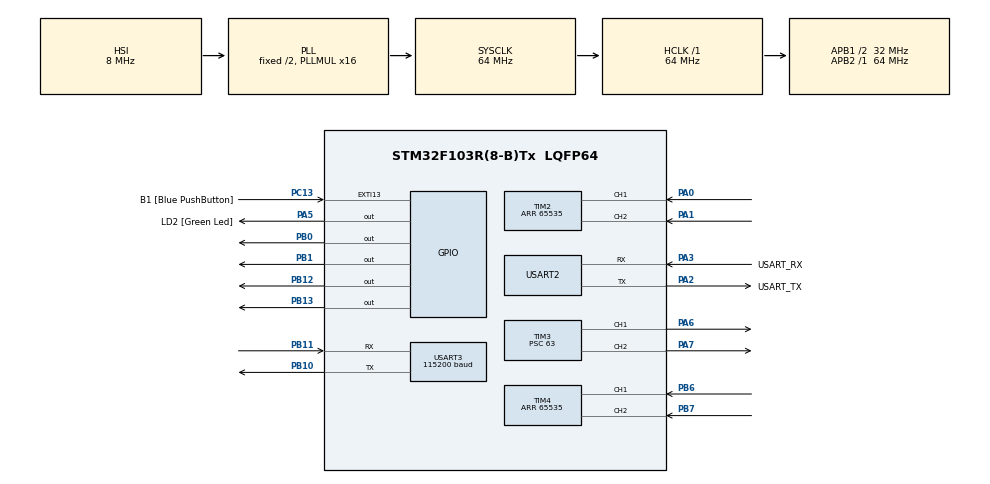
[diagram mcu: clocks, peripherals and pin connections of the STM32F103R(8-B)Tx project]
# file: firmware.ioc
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Mcu.Family=STM32F1
Mcu.Name=STM32F103R(8-B)Tx
Mcu.Package=LQFP64
NVIC.EXTI15_10_IRQn=true\:0\:0\:false\:false\:true\:true\:true\:true
NVIC.PriorityGroup=NVIC_PRIORITYGROUP_4
NVIC.USART3_IRQn=true\:0\:0\:false\:false\:true\:true\:true\:true
PA0-WKUP.Signal=S_TIM2_CH1_ETR
PA1.Signal=S_TIM2_CH2
PA13.GPIO_Label=TMS
PA13.Mode=Serial_Wire
PA13.Signal=SYS_JTMS-SWDIO
PA14.GPIO_Label=TCK
PA14.Mode=Serial_Wire
PA14.Signal=SYS_JTCK-SWCLK
PA2.GPIO_Label=USART_TX
PA2.GPIO_Mode=GPIO_MODE_AF_PP
PA2.GPIO_PuPd=GPIO_NOPULL
PA2.GPIO_Speed=GPIO_SPEED_FREQ_LOW
PA2.Mode=Asynchronous
PA2.Signal=USART2_TX
PA3.GPIO_Label=USART_RX
PA3.GPIO_PuPd=GPIO_NOPULL
PA3.Mode=Asynchronous
PA3.Signal=USART2_RX
PA5.GPIO_Label=LD2 [Green Led]
PA5.GPIO_ModeDefaultOutputPP=GPIO_MODE_OUTPUT_PP
PA5.GPIO_PuPd=GPIO_NOPULL
PA5.GPIO_Speed=GPIO_SPEED_FREQ_LOW
PA5.Signal=GPIO_Output
PA6.Signal=S_TIM3_CH1
PA7.Signal=S_TIM3_CH2
PB0.Signal=GPIO_Output
PB1.Signal=GPIO_Output
PB10.Mode=Asynchronous
PB10.Signal=USART3_TX
PB11.Mode=Asynchronous
PB11.Signal=USART3_RX
PB12.Signal=GPIO_Output
PB13.Signal=GPIO_Output
PB6.Signal=S_TIM4_CH1
PB7.Signal=S_TIM4_CH2
PC13-TAMPER-RTC.GPIO_Label=B1 [Blue PushButton]
PC13-TAMPER-RTC.GPIO_PuPd=GPIO_NOPULL
PC13-TAMPER-RTC.Signal=GPXTI13
ProjectManager.HeapSize=0x200
ProjectManager.StackSize=0x400
ProjectManager.TargetToolchain=STM32CubeIDE
RCC.AHBFreq_Value=64000000
RCC.APB1CLKDivider=RCC_HCLK_DIV2
RCC.APB1Freq_Value=32000000
RCC.APB1TimFreq_Value=64000000
RCC.APB2Freq_Value=64000000
RCC.APB2TimFreq_Value=64000000
RCC.HCLKFreq_Value=64000000
RCC.PLLMUL=RCC_PLL_MUL16
RCC.SYSCLKFreq_VALUE=64000000
RCC.SYSCLKSource=RCC_SYSCLKSOURCE_PLLCLK
RCC.USBFreq_Value=64000000
SH.S_TIM2_CH1_ETR.0=TIM2_CH1,Encoder_Interface
SH.S_TIM2_CH2.0=TIM2_CH2,Encoder_Interface
SH.S_TIM3_CH1.0=TIM3_CH1,PWM Generation1 CH1
SH.S_TIM3_CH2.0=TIM3_CH2,PWM Generation2 CH2
SH.S_TIM4_CH1.0=TIM4_CH1,Encoder_Interface
SH.S_TIM4_CH2.0=TIM4_CH2,Encoder_Interface
TIM2.EncoderMode=TIM_ENCODERMODE_TI12
TIM2.IC1Filter=4
TIM2.IC2Filter=4
TIM2.Period=65535
TIM3.Channel-PWM\ Generation1\ CH1=TIM_CHANNEL_1
TIM3.Channel-PWM\ Generation2\ CH2=TIM_CHANNEL_2
TIM3.Period=999
TIM3.Prescaler=63
TIM4.EncoderMode=TIM_ENCODERMODE_TI12
TIM4.IC1Filter=4
TIM4.IC2Filter=4
TIM4.Period=65535
USART2.VirtualMode=VM_ASYNC
USART3.BaudRate=115200
USART3.VirtualMode=VM_ASYNC
VP_TIM3_VS_ClockSourceINT.Mode=Internal
board=NUCLEO-F103RB

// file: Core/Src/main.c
/* USER CODE BEGIN Header */
/**
  ******************************************************************************
  * @file           : main.c
  * @brief          : Main program body
  ******************************************************************************
  * @attention
  *
  * Copyright (c) 2026 STMicroelectronics.
  * All rights reserved.
  *
  * This software is licensed under terms that can be found in the LICENSE file
  * in the root directory of this software component.
  * If no LICENSE file comes with this software, it is provided AS-IS.
  *
  ******************************************************************************
  */
/* USER CODE END Header */
#include "main.h"

/* USER CODE BEGIN Includes */
#include <inttypes.h>
#include <stdio.h>
#include <string.h>
/* USER CODE END Includes */

/* USER CODE BEGIN PD */
#define DEBUG_PIN_LEVEL 0
#define ENCODER_TX_INTERVAL_MS 50U
#define MOTOR_TIMEOUT_MS 300U
#define COMMAND_BUFFER_SIZE 24U
/* USER CODE END PD */

TIM_HandleTypeDef htim2;
TIM_HandleTypeDef htim3;
TIM_HandleTypeDef htim4;

UART_HandleTypeDef huart2;
UART_HandleTypeDef huart3;

/* USER CODE BEGIN PV */
static uint8_t rxByte;
static char rxLine[COMMAND_BUFFER_SIZE];
static char pendingCommand[COMMAND_BUFFER_SIZE];
static uint8_t rxLength;
static uint8_t discardLine;
static volatile uint8_t commandReady;
static volatile uint8_t stopRequested;
static uint8_t previousCR;
static uint16_t previousLeftEncoder;
static uint16_t previousRightEncoder;
static uint32_t leftEncoder;
static uint32_t rightEncoder;
static char encoderMessage[sizeof("ENC,4294967295,4294967295\r\n")];
/* USER CODE END PV */

void SystemClock_Config(void);
static void MX_GPIO_Init(void);
static void MX_USART2_UART_Init(void);
static void MX_USART3_UART_Init(void);
static void MX_TIM2_Init(void);
static void MX_TIM3_Init(void);
static void MX_TIM4_Init(void);
void HAL_TIM_MspPostInit(TIM_HandleTypeDef *htim);

/* USER CODE BEGIN 0 */
static int readDuty(const char **text, int *value)
{
  const char *p = *text;
  int sign = 1;
  int number = 0;

  if (*p == '-')
  {
    sign = -1;
    ++p;
  }
  if (*p < '0' || *p > '9')
  {
    return 0;
  }

  while (*p >= '0' && *p <= '9')
  {
    number = number * 10 + (*p - '0');
    if (number > 100)
    {
      return 0;
    }
    ++p;
  }

  *text = p;
  *value = sign * number;
  return 1;
}

static int parseCommand(const char *text, int *left, int *right)
{
  if (text[0] != 'M' || text[1] != ',')
  {
    return 0;
  }

  text += 2;
  if (!readDuty(&text, left) || *text != ',')
  {
    return 0;
  }
  ++text;

  return readDuty(&text, right) && *text == '\0';
}

static void setMotor(uint32_t channel, GPIO_TypeDef *port,
                     uint16_t in1, uint16_t in2, int duty, int *previousDuty)
{
  if (duty == *previousDuty)
  {
    return;
  }

  if ((duty > 0) != (*previousDuty > 0) ||
      (duty < 0) != (*previousDuty < 0))
  {
    __HAL_TIM_SET_COMPARE(&htim3, channel, 0U);
    if (duty != 0 && *previousDuty != 0)
    {
      HAL_Delay(2U);
    }
    HAL_GPIO_WritePin(port, in1 | in2, GPIO_PIN_RESET);
    if (duty != 0)
    {
      HAL_GPIO_WritePin(port, duty > 0 ? in1 : in2, GPIO_PIN_SET);
    }
  }

  uint32_t percent = (uint32_t)(duty < 0 ? -duty : duty);
  uint32_t period = __HAL_TIM_GET_AUTORELOAD(&htim3) + 1U;
  __HAL_TIM_SET_COMPARE(&htim3, channel, period * percent / 100U);
  *previousDuty = duty;
}

static void setMotors(int left, int right)
{
  static int previousLeft;
  static int previousRight;
  setMotor(TIM_CHANNEL_1, GPIOB, GPIO_PIN_0, GPIO_PIN_1, left, &previousLeft);
  setMotor(TIM_CHANNEL_2, GPIOB, GPIO_PIN_12, GPIO_PIN_13, right, &previousRight);
}

static void accumulateEncoder(TIM_HandleTypeDef *timer, uint16_t *previous, uint32_t *total)
{
  /* Samples must be less than half of a 16-bit counter cycle apart. */
  uint16_t current = (uint16_t)__HAL_TIM_GET_COUNTER(timer);
  uint16_t wrappedDelta = (uint16_t)(current - *previous);
  int32_t delta = wrappedDelta <= INT16_MAX ? wrappedDelta : (int32_t)wrappedDelta - 65536;

  *previous = current;
  *total += (uint32_t)delta;
}

static void sendEncoder(void)
{
  uint32_t left = leftEncoder;
  uint32_t right = rightEncoder;
  if (huart3.gState != HAL_UART_STATE_READY)
  {
    return;
  }
  int length = snprintf(encoderMessage, sizeof(encoderMessage), "ENC,%" PRIu32 ",%" PRIu32 "\r\n", left, right);

  if (length > 0 && (size_t)length < sizeof(encoderMessage))
  {
    HAL_UART_Transmit_IT(&huart3, (uint8_t *)encoderMessage, (uint16_t)length);
  }
}
/* USER CODE END 0 */

int main(void)
{

  /* MCU Configuration--------------------------------------------------------*/

  /* Reset of all peripherals, Initializes the Flash interface and the Systick. */
  HAL_Init();

  /* Configure the system clock */
  SystemClock_Config();

  /* Initialize all configured peripherals */
  MX_GPIO_Init();
  MX_USART2_UART_Init();
  MX_TIM2_Init();
  MX_TIM3_Init();
  MX_TIM4_Init();
  MX_USART3_UART_Init();
  /* USER CODE BEGIN 2 */
  __HAL_TIM_SET_COMPARE(&htim3, TIM_CHANNEL_1, 0U);
  __HAL_TIM_SET_COMPARE(&htim3, TIM_CHANNEL_2, 0U);
  if (HAL_TIM_Encoder_Start(&htim4, TIM_CHANNEL_ALL) != HAL_OK ||
      HAL_TIM_Encoder_Start(&htim2, TIM_CHANNEL_ALL) != HAL_OK ||
      HAL_TIM_PWM_Start(&htim3, TIM_CHANNEL_1) != HAL_OK ||
      HAL_TIM_PWM_Start(&htim3, TIM_CHANNEL_2) != HAL_OK ||
      HAL_UART_Receive_IT(&huart3, &rxByte, 1U) != HAL_OK)
  {
    Error_Handler();
  }

  uint32_t lastCommand = HAL_GetTick();
  uint32_t lastEncoder = lastCommand - ENCODER_TX_INTERVAL_MS;
  /* USER CODE END 2 */

  /* Infinite loop */
  while (1)
  {

    /* USER CODE BEGIN 3 */
    uint32_t now = HAL_GetTick();
    accumulateEncoder(&htim2, &previousLeftEncoder, &leftEncoder);
    accumulateEncoder(&htim4, &previousRightEncoder, &rightEncoder);

    if (stopRequested)
    {
      uint32_t irqState = __get_PRIMASK();
      __disable_irq();
      commandReady = 0U;
      stopRequested = 0U;
      __set_PRIMASK(irqState);
      setMotors(0, 0);
    }

    if (commandReady)
    {
      char command[COMMAND_BUFFER_SIZE];
      uint32_t irqState = __get_PRIMASK();
      __disable_irq();
      memcpy(command, pendingCommand, sizeof(command));
      commandReady = 0;
      __set_PRIMASK(irqState);

      int left;
      int right;
      if (parseCommand(command, &left, &right))
      {
        setMotors(left, right);
        lastCommand = now;
      }
      else
      {
        setMotors(0, 0);
      }
    }

    if (now - lastCommand >= MOTOR_TIMEOUT_MS)
    {
      setMotors(0, 0);
    }

    if (now - lastEncoder >= ENCODER_TX_INTERVAL_MS)
    {
      lastEncoder = now;
      sendEncoder();
    }
  }
  /* USER CODE END 3 */
}

void SystemClock_Config(void)
{
  RCC_OscInitTypeDef RCC_OscInitStruct = {0};
  RCC_ClkInitTypeDef RCC_ClkInitStruct = {0};

  /** Initializes the RCC Oscillators according to the specified parameters
  * in the RCC_OscInitTypeDef structure.
  */
  RCC_OscInitStruct.OscillatorType = RCC_OSCILLATORTYPE_HSI;
  RCC_OscInitStruct.HSIState = RCC_HSI_ON;
  RCC_OscInitStruct.HSICalibrationValue = RCC_HSICALIBRATION_DEFAULT;
  RCC_OscInitStruct.PLL.PLLState = RCC_PLL_ON;
  RCC_OscInitStruct.PLL.PLLSource = RCC_PLLSOURCE_HSI_DIV2;
  RCC_OscInitStruct.PLL.PLLMUL = RCC_PLL_MUL16;
  if (HAL_RCC_OscConfig(&RCC_OscInitStruct) != HAL_OK)
  {
    Error_Handler();
  }

  /** Initializes the CPU, AHB and APB buses clocks
  */
  RCC_ClkInitStruct.ClockType = RCC_CLOCKTYPE_HCLK|RCC_CLOCKTYPE_SYSCLK
                              |RCC_CLOCKTYPE_PCLK1|RCC_CLOCKTYPE_PCLK2;
  RCC_ClkInitStruct.SYSCLKSource = RCC_SYSCLKSOURCE_PLLCLK;
  RCC_ClkInitStruct.AHBCLKDivider = RCC_SYSCLK_DIV1;
  RCC_ClkInitStruct.APB1CLKDivider = RCC_HCLK_DIV2;
  RCC_ClkInitStruct.APB2CLKDivider = RCC_HCLK_DIV1;

  if (HAL_RCC_ClockConfig(&RCC_ClkInitStruct, FLASH_LATENCY_2) != HAL_OK)
  {
    Error_Handler();
  }
}

static void MX_USART2_UART_Init(void)
{

  huart2.Instance = USART2;
  huart2.Init.BaudRate = 115200;
  huart2.Init.WordLength = UART_WORDLENGTH_8B;
  huart2.Init.StopBits = UART_STOPBITS_1;
  huart2.Init.Parity = UART_PARITY_NONE;
  huart2.Init.Mode = UART_MODE_TX_RX;
  huart2.Init.HwFlowCtl = UART_HWCONTROL_NONE;
  huart2.Init.OverSampling = UART_OVERSAMPLING_16;
  if (HAL_UART_Init(&huart2) != HAL_OK)
  {
    Error_Handler();
  }

}

static void MX_GPIO_Init(void)
{
  GPIO_InitTypeDef GPIO_InitStruct = {0};

  /* GPIO Ports Clock Enable */
  __HAL_RCC_GPIOC_CLK_ENABLE();
  __HAL_RCC_GPIOD_CLK_ENABLE();
  __HAL_RCC_GPIOA_CLK_ENABLE();
  __HAL_RCC_GPIOB_CLK_ENABLE();

  /*Configure GPIO pin Output Level */
  HAL_GPIO_WritePin(LD2_GPIO_Port, LD2_Pin, GPIO_PIN_RESET);

  /*Configure GPIO pin : B1_Pin */
  GPIO_InitStruct.Pin = B1_Pin;
  GPIO_InitStruct.Mode = GPIO_MODE_IT_RISING;
  GPIO_InitStruct.Pull = GPIO_NOPULL;
  HAL_GPIO_Init(B1_GPIO_Port, &GPIO_InitStruct);

  /*Configure GPIO pin : LD2_Pin */
  GPIO_InitStruct.Pin = LD2_Pin;
  GPIO_InitStruct.Mode = GPIO_MODE_OUTPUT_PP;
  GPIO_InitStruct.Pull = GPIO_NOPULL;
  GPIO_InitStruct.Speed = GPIO_SPEED_FREQ_LOW;
  HAL_GPIO_Init(LD2_GPIO_Port, &GPIO_InitStruct);

  /* EXTI interrupt init*/
  HAL_NVIC_SetPriority(EXTI15_10_IRQn, 0, 0);
  HAL_NVIC_EnableIRQ(EXTI15_10_IRQn);

  HAL_GPIO_WritePin(GPIOB, GPIO_PIN_0 | GPIO_PIN_1 | GPIO_PIN_12 | GPIO_PIN_13, GPIO_PIN_RESET);
  GPIO_InitStruct.Pin = GPIO_PIN_0 | GPIO_PIN_1 | GPIO_PIN_12 | GPIO_PIN_13;
  GPIO_InitStruct.Mode = GPIO_MODE_OUTPUT_PP;
  GPIO_InitStruct.Pull = GPIO_NOPULL;
  GPIO_InitStruct.Speed = GPIO_SPEED_FREQ_LOW;
  HAL_GPIO_Init(GPIOB, &GPIO_InitStruct);

}

static void MX_TIM2_Init(void)
{
  TIM_Encoder_InitTypeDef encoder = {0};
  TIM_MasterConfigTypeDef master = {0};

  htim2.Instance = TIM2;
  htim2.Init.Prescaler = 0;
  htim2.Init.CounterMode = TIM_COUNTERMODE_UP;
  htim2.Init.Period = UINT16_MAX;
  htim2.Init.ClockDivision = TIM_CLOCKDIVISION_DIV1;
  htim2.Init.AutoReloadPreload = TIM_AUTORELOAD_PRELOAD_DISABLE;
  encoder.EncoderMode = TIM_ENCODERMODE_TI12;
  encoder.IC1Polarity = TIM_ICPOLARITY_RISING;
  encoder.IC1Selection = TIM_ICSELECTION_DIRECTTI;
  encoder.IC1Prescaler = TIM_ICPSC_DIV1;
  encoder.IC1Filter = 4;
  encoder.IC2Polarity = TIM_ICPOLARITY_RISING;
  encoder.IC2Selection = TIM_ICSELECTION_DIRECTTI;
  encoder.IC2Prescaler = TIM_ICPSC_DIV1;
  encoder.IC2Filter = 4;

  if (HAL_TIM_Encoder_Init(&htim2, &encoder) != HAL_OK)
  {
    Error_Handler();
  }

  master.MasterOutputTrigger = TIM_TRGO_RESET;
  master.MasterSlaveMode = TIM_MASTERSLAVEMODE_DISABLE;
  if (HAL_TIMEx_MasterConfigSynchronization(&htim2, &master) != HAL_OK)
  {
    Error_Handler();
  }
}

static void MX_TIM3_Init(void)
{

  TIM_MasterConfigTypeDef sMasterConfig = {0};
  TIM_OC_InitTypeDef sConfigOC = {0};
  TIM_ClockConfigTypeDef sClockSourceConfig = {0};

  htim3.Instance = TIM3;
  htim3.Init.Prescaler = 63;
  htim3.Init.CounterMode = TIM_COUNTERMODE_UP;
  htim3.Init.Period = 999;
  htim3.Init.ClockDivision = TIM_CLOCKDIVISION_DIV1;
  htim3.Init.AutoReloadPreload = TIM_AUTORELOAD_PRELOAD_DISABLE;
  if (HAL_TIM_PWM_Init(&htim3) != HAL_OK)
  {
    Error_Handler();
  }
  sClockSourceConfig.ClockSource = TIM_CLOCKSOURCE_INTERNAL;
  if (HAL_TIM_ConfigClockSource(&htim3, &sClockSourceConfig) != HAL_OK)
  {
    Error_Handler();
  }
  sMasterConfig.MasterOutputTrigger = TIM_TRGO_RESET;
  sMasterConfig.MasterSlaveMode = TIM_MASTERSLAVEMODE_DISABLE;
  if (HAL_TIMEx_MasterConfigSynchronization(&htim3, &sMasterConfig) != HAL_OK)
  {
    Error_Handler();
  }
  sConfigOC.OCMode = TIM_OCMODE_PWM1;
  sConfigOC.Pulse = 0;
  sConfigOC.OCPolarity = TIM_OCPOLARITY_HIGH;
  sConfigOC.OCFastMode = TIM_OCFAST_DISABLE;
  if (HAL_TIM_PWM_ConfigChannel(&htim3, &sConfigOC, TIM_CHANNEL_1) != HAL_OK ||
      HAL_TIM_PWM_ConfigChannel(&htim3, &sConfigOC, TIM_CHANNEL_2) != HAL_OK)
  {
    Error_Handler();
  }
  HAL_TIM_MspPostInit(&htim3);

}

static void MX_TIM4_Init(void)
{
  TIM_Encoder_InitTypeDef encoder = {0};
  TIM_MasterConfigTypeDef master = {0};

  htim4.Instance = TIM4;
  htim4.Init.Prescaler = 0;
  htim4.Init.CounterMode = TIM_COUNTERMODE_UP;
  htim4.Init.Period = UINT16_MAX;
  htim4.Init.ClockDivision = TIM_CLOCKDIVISION_DIV1;
  htim4.Init.AutoReloadPreload = TIM_AUTORELOAD_PRELOAD_DISABLE;
  encoder.EncoderMode = TIM_ENCODERMODE_TI12;
  encoder.IC1Polarity = TIM_ICPOLARITY_RISING;
  encoder.IC1Selection = TIM_ICSELECTION_DIRECTTI;
  encoder.IC1Prescaler = TIM_ICPSC_DIV1;
  encoder.IC1Filter = 4;
  encoder.IC2Polarity = TIM_ICPOLARITY_RISING;
  encoder.IC2Selection = TIM_ICSELECTION_DIRECTTI;
  encoder.IC2Prescaler = TIM_ICPSC_DIV1;
  encoder.IC2Filter = 4;

  if (HAL_TIM_Encoder_Init(&htim4, &encoder) != HAL_OK)
  {
    Error_Handler();
  }

  master.MasterOutputTrigger = TIM_TRGO_RESET;
  master.MasterSlaveMode = TIM_MASTERSLAVEMODE_DISABLE;
  if (HAL_TIMEx_MasterConfigSynchronization(&htim4, &master) != HAL_OK)
  {
    Error_Handler();
  }
}

static void MX_USART3_UART_Init(void)
{

  huart3.Instance = USART3;
  huart3.Init.BaudRate = 115200;
  huart3.Init.WordLength = UART_WORDLENGTH_8B;
  huart3.Init.StopBits = UART_STOPBITS_1;
  huart3.Init.Parity = UART_PARITY_NONE;
  huart3.Init.Mode = UART_MODE_TX_RX;
  huart3.Init.HwFlowCtl = UART_HWCONTROL_NONE;
  huart3.Init.OverSampling = UART_OVERSAMPLING_16;
  if (HAL_UART_Init(&huart3) != HAL_OK)
  {
    Error_Handler();
  }

}

/* USER CODE BEGIN 4 */
#if DEBUG_PIN_LEVEL
void HAL_UART_TxCpltCallback(UART_HandleTypeDef *huart)
{
  static uint8_t pinMessage[] = "PIN,0,0\r\n";

  /* HAL advances the TX pointer to the end of the completed buffer. */
  if (huart != &huart3 ||
      huart->TxXferSize >= sizeof(encoderMessage) ||
      huart->pTxBuffPtr != (uint8_t *)encoderMessage + huart->TxXferSize)
  {
    return;
  }

  pinMessage[4] = (GPIOB->IDR & GPIO_PIN_6) ? '1' : '0';
  pinMessage[6] = (GPIOB->IDR & GPIO_PIN_7) ? '1' : '0';
  HAL_UART_Transmit_IT(huart, pinMessage, sizeof(pinMessage) - 1U);
}
#endif

void HAL_UART_RxCpltCallback(UART_HandleTypeDef *huart)
{
  if (huart->Instance != USART3)
  {
    return;
  }

  if (rxByte == '\r' || rxByte == '\n')
  {
    if (!(rxByte == '\n' && previousCR))
    {
      if (discardLine || rxLength == 0U || commandReady || stopRequested)
      {
        stopRequested = 1U;
      }
      else
      {
        rxLine[rxLength] = '\0';
        memcpy(pendingCommand, rxLine, rxLength + 1U);
        commandReady = 1U;
      }
    }
    previousCR = (rxByte == '\r');
    rxLength = 0U;
    discardLine = 0U;
  }
  else
  {
    previousCR = 0U;
    if (!discardLine)
    {
      if (rxByte == '\0' || rxLength >= sizeof(rxLine) - 1U)
      {
        discardLine = 1U;
        stopRequested = 1U;
      }
      else
      {
        rxLine[rxLength++] = (char)rxByte;
      }
    }
  }

  if (HAL_UART_Receive_IT(huart, &rxByte, 1U) != HAL_OK)
  {
    stopRequested = 1U;
  }
}

void HAL_UART_ErrorCallback(UART_HandleTypeDef *huart)
{
  if (huart->Instance == USART3)
  {
    stopRequested = 1U;
    rxLength = 0U;
    discardLine = 1U;
    previousCR = 0U;
    HAL_UART_AbortReceive(huart);
    if (HAL_UART_Receive_IT(huart, &rxByte, 1U) != HAL_OK)
    {
      Error_Handler();
    }
  }
}
/* USER CODE END 4 */

void Error_Handler(void)
{
  /* USER CODE BEGIN Error_Handler_Debug */
  __HAL_RCC_TIM3_CLK_ENABLE();
  TIM3->CCR1 = 0U;
  TIM3->CCR2 = 0U;
  TIM3->CCER = 0U;
	  /* User can add his own implementation to report the HAL error return state */
	  __disable_irq();
	  while (1)
	  {
	  }
  /* USER CODE END Error_Handler_Debug */
}
